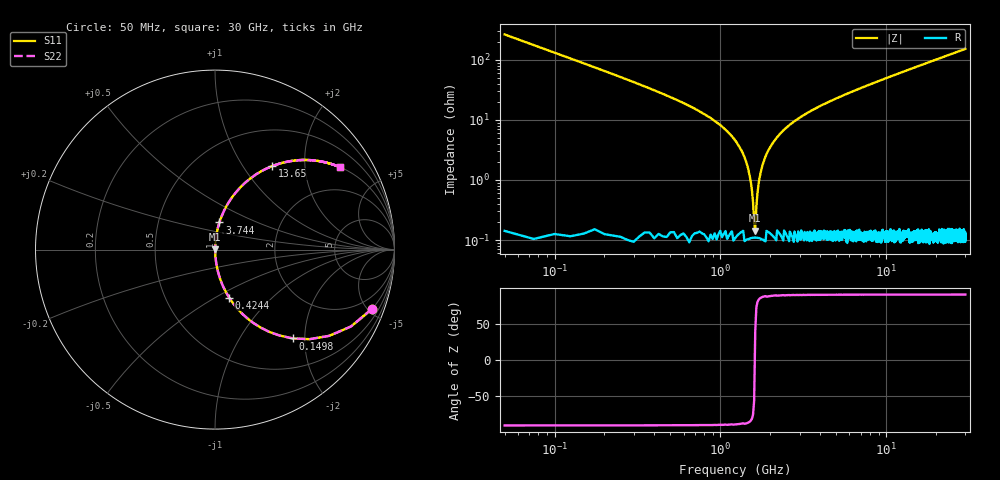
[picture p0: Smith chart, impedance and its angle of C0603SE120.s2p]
!	AVX Thin Film Operation 	Date: April 2014
!	Description: Accu-P® Series, Thin Film  SMD RF Capacitor
!	Part Number: 06035J120FBSTR
# MHZ S MA R 50
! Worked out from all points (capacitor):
!   1201 points, 50 MHz to 30 GHz, reference 50 ohm
!   read as one part in series: C = 12 pF near 199.8 MHz
!   lowest |Z| = 143 mohm at 1.622 GHz (marker M1)
!   series resonance near 1.613 GHz, so ESL is about 810 pH
!   S11 on the Smith chart (normalised r, x): 50 MHz: 1.01, -5.30; 149.8 MHz: 1.00, -1.75; 424.4 MHz: 1.00, -0.58; 3.744 GHz: 1.00, +0.31; 13.65 GHz: 1.00, +1.37; 30 GHz: 1.00, +3.05
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50  0.935 -20.7  0.353 69.3  0.353 69.3  0.935 -20.7
149.833  0.659 -48.7  0.751 41.2  0.751 41.2  0.659 -48.7
274.625  0.424 -64.8  0.905 25.1  0.905 25.1  0.424 -64.8
424.375  0.279 -73.6  0.959 16.2  0.959 16.2  0.279 -73.6
748.833  0.137 -81.6  0.989 7.9  0.989 7.9  0.137 -81.6
1223.042  0.046 -85.9  0.998 2.6  0.998 2.6  0.046 -85.9
1372.792  0.027 -85.9  0.998 1.5  0.998 1.5  0.027 -85.9
1522.542  0.009594 -82.3  0.999 0.5  0.999 0.5  0.009594 -82.3
1622.375  0.0015 37.5  0.999 -0.1  0.999 -0.1  0.0015 37.5
1722.208  0.011 83.1  0.999 -0.6  0.999 -0.6  0.011 83.1
1822.042  0.02 85.5  0.999 -1.1  0.999 -1.1  0.02 85.5
1921.875  0.029 86.0  0.998 -1.7  0.998 -1.7  0.029 86.0
2246.333  0.055 85.6  0.997 -3.2  0.997 -3.2  0.055 85.6
2845.333  0.098 83.7  0.994 -5.6  0.994 -5.6  0.098 83.7
3743.833  0.153 80.7  0.987 -8.8  0.987 -8.8  0.153 80.7
5041.667  0.224 76.7  0.973 -13.0  0.973 -13.0  0.224 76.7
10058.29  0.446 63.4  0.894 -26.5  0.894 -26.5  0.446 63.4
13652.29  0.565 55.5  0.824 -34.4  0.824 -34.4  0.565 55.5
15025  0.603 52.8  0.797 -37.1  0.797 -37.1  0.603 52.8
20016.67  0.711 44.6  0.702 -45.3  0.702 -45.3  0.711 44.6
25033.29  0.785 38.2  0.618 -51.8  0.618 -51.8  0.785 38.2
30000  0.836 33.3  0.548 -56.7  0.548 -56.7  0.836 33.3
